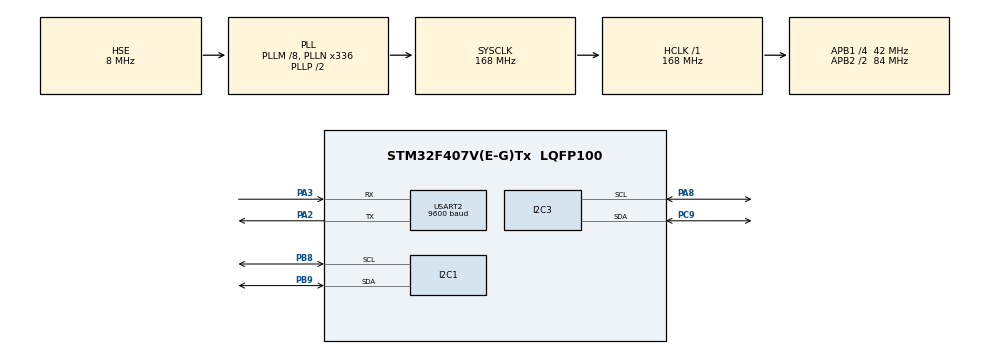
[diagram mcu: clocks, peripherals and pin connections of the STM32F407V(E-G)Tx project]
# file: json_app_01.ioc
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Dma.Request0=USART2_RX
Dma.USART2_RX.0.Direction=DMA_PERIPH_TO_MEMORY
Dma.USART2_RX.0.FIFOMode=DMA_FIFOMODE_DISABLE
Dma.USART2_RX.0.Instance=DMA1_Stream5
Dma.USART2_RX.0.MemDataAlignment=DMA_MDATAALIGN_BYTE
Dma.USART2_RX.0.MemInc=DMA_MINC_ENABLE
Dma.USART2_RX.0.Mode=DMA_NORMAL
Dma.USART2_RX.0.PeriphDataAlignment=DMA_PDATAALIGN_BYTE
Dma.USART2_RX.0.PeriphInc=DMA_PINC_DISABLE
Dma.USART2_RX.0.Priority=DMA_PRIORITY_LOW
Mcu.Family=STM32F4
Mcu.Name=STM32F407V(E-G)Tx
Mcu.Package=LQFP100
NVIC.DMA1_Stream5_IRQn=true\:0\:0\:false\:false\:true\:false\:true\:true
NVIC.PriorityGroup=NVIC_PRIORITYGROUP_0
NVIC.RCC_IRQn=true\:0\:0\:false\:false\:true\:true\:false\:true
NVIC.TIM2_IRQn=true\:0\:0\:false\:false\:true\:true\:true\:true
NVIC.USART2_IRQn=true\:0\:0\:false\:false\:true\:true\:true\:true
PA13.Mode=Serial_Wire
PA13.Signal=SYS_JTMS-SWDIO
PA14.Mode=Serial_Wire
PA14.Signal=SYS_JTCK-SWCLK
PA2.Mode=Asynchronous
PA2.Signal=USART2_TX
PA3.Mode=Asynchronous
PA3.Signal=USART2_RX
PA8.Mode=I2C
PA8.Signal=I2C3_SCL
PB8.Mode=I2C
PB8.Signal=I2C1_SCL
PB9.Mode=I2C
PB9.Signal=I2C1_SDA
PC9.Mode=I2C
PC9.Signal=I2C3_SDA
PH0-OSC_IN.Mode=HSE-External-Oscillator
PH0-OSC_IN.Signal=RCC_OSC_IN
PH1-OSC_OUT.Mode=HSE-External-Oscillator
PH1-OSC_OUT.Signal=RCC_OSC_OUT
ProjectManager.HeapSize=0x200
ProjectManager.StackSize=0x400
ProjectManager.TargetToolchain=STM32CubeIDE
RCC.48MHZClocksFreq_Value=48000000
RCC.AHBFreq_Value=168000000
RCC.APB1CLKDivider=RCC_HCLK_DIV4
RCC.APB1Freq_Value=42000000
RCC.APB1TimFreq_Value=84000000
RCC.APB2CLKDivider=RCC_HCLK_DIV2
RCC.APB2Freq_Value=84000000
RCC.APB2TimFreq_Value=168000000
RCC.CortexFreq_Value=168000000
RCC.HCLKFreq_Value=168000000
RCC.HSE_VALUE=8000000
RCC.HSI_VALUE=16000000
RCC.LSE_VALUE=32768
RCC.PLLM=8
RCC.PLLN=336
RCC.PLLQ=7
RCC.PLLSourceVirtual=RCC_PLLSOURCE_HSE
RCC.SYSCLKFreq_VALUE=168000000
RCC.SYSCLKSource=RCC_SYSCLKSOURCE_PLLCLK
RCC.VCOOutputFreq_Value=336000000
TIM2.AutoReloadPreload=TIM_AUTORELOAD_PRELOAD_ENABLE
TIM2.Period=20999
TIM2.Prescaler=3
TIM2.TIM_MasterOutputTrigger=TIM_TRGO_UPDATE
USART2.BaudRate=9600
USART2.VirtualMode=VM_ASYNC
VP_TIM2_VS_ClockSourceINT.Mode=Internal
board=STM32F407G-DISC1

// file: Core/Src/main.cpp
/* USER CODE BEGIN Header */
/**
 ******************************************************************************
 * @file           : main.c
 * @brief          : Main program body
 ******************************************************************************
 * @attention
 *
 * Copyright (c) 2024 STMicroelectronics.
 * All rights reserved.
 *
 * This software is licensed under terms that can be found in the LICENSE file
 * in the root directory of this software component.
 * If no LICENSE file comes with this software, it is provided AS-IS.
 *
 ******************************************************************************
 */
/* USER CODE END Header */
#include "main.h"
#include "dma.h"
#include "i2c.h"
#include "tim.h"
#include "usart.h"
#include "gpio.h"

/* USER CODE BEGIN Includes */

#include "dma_buffer.h"
#include <stdlib.h>
#include <stdio.h>
#include <string.h>
#include "application.hpp"

/* USER CODE END Includes */

/* USER CODE BEGIN PTD */
UartStream_t *python_port; /*RX Ring Buffer*/
/* USER CODE END PTD */

/* USER CODE BEGIN PM */
int __io_putchar(int ch) {
//#warning "Bunu debug icin aktif edebilirsin!!!!"
	//ITM_SendChar(ch);
	return ch;
}

/* USER CODE END PM */

void SystemClock_Config(void);

/* USER CODE BEGIN 0 */
void HAL_UARTEx_RxEventCallback(UART_HandleTypeDef *huart, uint16_t Size) {
	if (huart->Instance == USART2) {
		uart_rx_stream_callback(python_port, Size);

	}
}

/* USER CODE END 0 */

int main(void)
{

  /* USER CODE BEGIN 1 */
	//printf("DMA started...! \r\n");
  /* USER CODE END 1 */

  /* MCU Configuration--------------------------------------------------------*/

  /* Reset of all peripherals, Initializes the Flash interface and the Systick. */
  HAL_Init();

  /* Configure the system clock */
  SystemClock_Config();

  /* Initialize all configured peripherals */
  MX_GPIO_Init();
  MX_DMA_Init();
  MX_USART2_UART_Init();
  MX_TIM2_Init();
  MX_I2C1_Init();
  MX_I2C3_Init();
  /* USER CODE BEGIN 2 */

	//char temp_message_to_send_python[] = "Ping from stm32\r\n";

	Setup();
	//HAL_TIM_PWM_Start(&htim4, TIM_CHANNEL_2);
	//HAL_TIM_PWM_Start(&htim4, TIM_CHANNEL_3);

	printf("System start\r\n");
	fflush(stdout);
  /* USER CODE END 2 */

  /* Infinite loop */
	while (1) {

    /* USER CODE BEGIN 3 */

		//HAL_Delay(500);
		Loop();

	}
  /* USER CODE END 3 */
}

void SystemClock_Config(void)
{
  RCC_OscInitTypeDef RCC_OscInitStruct = {0};
  RCC_ClkInitTypeDef RCC_ClkInitStruct = {0};

  /** Configure the main internal regulator output voltage
  */
  __HAL_RCC_PWR_CLK_ENABLE();
  __HAL_PWR_VOLTAGESCALING_CONFIG(PWR_REGULATOR_VOLTAGE_SCALE1);

  /** Initializes the RCC Oscillators according to the specified parameters
  * in the RCC_OscInitTypeDef structure.
  */
  RCC_OscInitStruct.OscillatorType = RCC_OSCILLATORTYPE_HSE;
  RCC_OscInitStruct.HSEState = RCC_HSE_ON;
  RCC_OscInitStruct.PLL.PLLState = RCC_PLL_ON;
  RCC_OscInitStruct.PLL.PLLSource = RCC_PLLSOURCE_HSE;
  RCC_OscInitStruct.PLL.PLLM = 8;
  RCC_OscInitStruct.PLL.PLLN = 336;
  RCC_OscInitStruct.PLL.PLLP = RCC_PLLP_DIV2;
  RCC_OscInitStruct.PLL.PLLQ = 7;
  if (HAL_RCC_OscConfig(&RCC_OscInitStruct) != HAL_OK)
  {
    Error_Handler();
  }

  /** Initializes the CPU, AHB and APB buses clocks
  */
  RCC_ClkInitStruct.ClockType = RCC_CLOCKTYPE_HCLK|RCC_CLOCKTYPE_SYSCLK
                              |RCC_CLOCKTYPE_PCLK1|RCC_CLOCKTYPE_PCLK2;
  RCC_ClkInitStruct.SYSCLKSource = RCC_SYSCLKSOURCE_PLLCLK;
  RCC_ClkInitStruct.AHBCLKDivider = RCC_SYSCLK_DIV1;
  RCC_ClkInitStruct.APB1CLKDivider = RCC_HCLK_DIV4;
  RCC_ClkInitStruct.APB2CLKDivider = RCC_HCLK_DIV2;

  if (HAL_RCC_ClockConfig(&RCC_ClkInitStruct, FLASH_LATENCY_5) != HAL_OK)
  {
    Error_Handler();
  }
}

void Error_Handler(void)
{
	__disable_irq();
	while (1) {
	}
}
